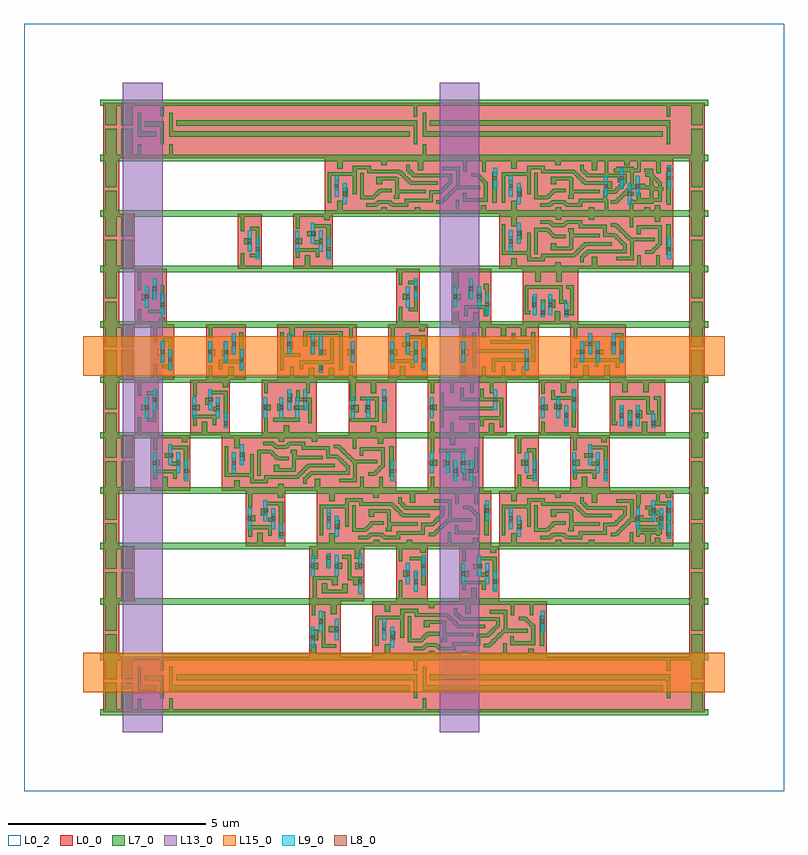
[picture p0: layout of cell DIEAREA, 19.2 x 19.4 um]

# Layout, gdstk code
import gdstk
lib = gdstk.Library(unit=1e-6, precision=1e-09)
def R(c, l, rs):  # rectangles x0, y0, x1, y1
    for r in rs: c.add(gdstk.rectangle(r[:2], r[2:], *l))
def A(c, l, x, y, w, h, nx, ny, dx, dy):  # array of equal rectangles
    R(c, l, [(x+i*dx, y+j*dy, x+i*dx+w, y+j*dy+h) for i in range(nx) for j in range(ny)])
L0_0 = (0, 0)
L0_2 = (0, 2)
L7_0 = (7, 0)
L8_0 = (8, 0)
L9_0 = (9, 0)
L13_0 = (13, 0)
L15_0 = (15, 0)

pins = lib.new_cell('PINS')

master_dffqx0p5h7r = lib.new_cell('Master_DFFQX0P5H7R')
R(master_dffqx0p5h7r, L0_0, [(0,0,4.4,1.4)])
R(master_dffqx0p5h7r, L7_0, [(0,-0.08,4.4,0.08), (0.31,-0.08,0.45,0.325), (1.43,-0.08,1.57,0.16), (2.27,-0.08,2.41,0.16), (3.305,-0.08,3.395,0.345), (3.935,-0.08,4.075,0.21), (1.04,0.17,1.31,0.26), (1.688,0.17,2.105,0.26), (2.015,0.17,2.105,0.371), (1.04,0.191,1.352,0.26), (1.646,0.191,1.688,0.319), (1.04,0.231,1.39,0.26), (1.608,0.231,2.105,0.26), (2.82,0.245,2.975,0.335), (1.272,0.25,1.726,0.279), (1.31,0.25,1.688,0.319), (1.352,0.25,1.646,0.34), (2.975,0.268,3.021,0.396), (0.07,0.275,0.16,1.045), (4.225,0.275,4.345,1.045), (2.015,0.281,2.725,0.371), (2.635,0.281,2.725,0.585), (3.485,0.3,3.575,0.525), (3.485,0.3,4.11,0.39), (4.02,0.3,4.11,0.806), (2.937,0.314,3.067,0.354), (3.021,0.314,3.067,0.442), (3.067,0.36,3.113,0.488), (0.89,0.365,0.98,1.03), (0.89,0.365,1.246,0.455), (1.745,0.37,1.885,0.46), (1.78,0.37,1.87,0.908), (1.78,0.37,1.885,0.605), (1.246,0.388,1.292,0.516), (3.113,0.406,3.159,0.534), (0.455,0.425,0.575,0.65), (1.208,0.434,1.338,0.474), (1.292,0.434,1.338,0.562), (3.159,0.452,3.205,0.58), (1.338,0.479,1.383,0.608), (0.71,0.485,0.8,1.21), (2.635,0.495,2.936,0.585), (3.205,0.498,3.251,0.626), (1.78,0.515,2.545,0.605), (2.936,0.518,2.982,0.646), (1.292,0.521,1.421,0.562), (1.383,0.54,1.69,0.63), (3.251,0.544,3.297,0.672), (2.898,0.564,3.028,0.604), (2.982,0.564,3.028,0.692), (3.297,0.576,3.315,0.704), (0.25,0.585,0.35,0.855), (3.205,0.6,3.345,0.626), (3.028,0.61,3.074,0.738), (3.315,0.615,3.405,1.185), (3.315,0.615,3.93,0.705), (3.074,0.656,3.12,0.784), (3.12,0.686,3.135,0.815), (3.074,0.717,3.181,0.784), (2.163,0.725,2.849,0.815), (2.141,0.736,2.163,0.864), (1.305,0.745,1.445,0.925), (4.012,0.75,4.02,0.878), (3.135,0.762,3.225,1.005), (2.095,0.77,2.201,0.834), (3.966,0.777,4.066,0.851), (2.049,0.816,2.163,0.864), (3.92,0.823,4.02,0.878), (1.305,0.835,1.835,0.925), (2.003,0.862,2.095,0.944), (2.003,0.862,2.141,0.898), (3.874,0.869,3.966,0.951), (3.874,0.869,4.012,0.905), (1.957,0.908,2.049,0.99), (3.836,0.911,3.966,0.951), (2.229,0.915,3.225,1.005), (3.7,0.93,3.874,1.02), (3.7,0.93,3.92,0.997), (2.19,0.934,2.229,1.063), (1.911,0.954,2.003,1.036), (0.07,0.955,0.8,1.045), (2.144,0.977,2.267,1.024), (1.873,0.996,2.003,1.036), (1.07,1.015,1.16,1.21), (1.07,1.015,1.911,1.105), (1.07,1.015,1.957,1.082), (2.1,1.022,2.19,1.105), (3.975,1.05,4.065,1.48), (3.495,1.055,3.585,1.48), (2.054,1.067,2.144,1.23), (2.345,1.095,2.485,1.48), (2.96,1.095,3.405,1.185), (0.71,1.12,1.16,1.21), (0.31,1.135,0.45,1.48), (1.42,1.225,1.56,1.48), (0,1.32,4.4,1.48)])
R(master_dffqx0p5h7r, L8_0, [(0.455,0.455,0.545,0.545), (0.255,0.655,0.345,0.745), (4.255,0.855,4.345,0.945)])
R(master_dffqx0p5h7r, L9_0, [(0.45,0.23,0.55,0.76), (0.25,0.425,0.35,0.96), (4.25,0.625,4.35,1.16)])

master_nor2x0p5h7l = lib.new_cell('Master_NOR2X0P5H7L')
R(master_nor2x0p5h7l, L0_0, [(0,0,0.8,1.4)])
R(master_nor2x0p5h7l, L7_0, [(0,-0.08,0.8,0.08), (0.07,-0.08,0.16,0.38), (0.615,-0.08,0.755,0.175), (0.345,0.275,0.745,0.365), (0.64,0.275,0.745,0.99), (0.18,0.61,0.345,0.775), (0.44,0.64,0.545,0.975), (0.07,0.865,0.16,1.48), (0,1.32,0.8,1.48)])
R(master_nor2x0p5h7l, L8_0, [(0.655,0.455,0.745,0.545), (0.255,0.655,0.345,0.745), (0.455,0.855,0.545,0.945)])
R(master_nor2x0p5h7l, L9_0, [(0.65,0.225,0.75,0.76), (0.25,0.425,0.35,0.96), (0.45,0.63,0.55,1.16)])

master_aoi21x0p5h7l = lib.new_cell('Master_AOI21X0P5H7L')
R(master_aoi21x0p5h7l, L0_0, [(0,0,1,1.4)])
R(master_aoi21x0p5h7l, L7_0, [(0,-0.08,1,0.08), (0.07,-0.08,0.16,0.385), (0.785,-0.08,0.925,0.175), (0.52,0.27,0.945,0.36), (0.84,0.27,0.945,1.115), (0.35,0.45,0.575,0.57), (0.65,0.62,0.75,0.775), (0.055,0.625,0.235,0.775), (0.535,0.675,0.75,0.775), (0.07,0.875,0.16,1.115), (0.07,0.875,0.66,0.965), (0.57,0.875,0.66,1.1), (0.295,1.055,0.435,1.48), (0,1.32,1,1.48)])
R(master_aoi21x0p5h7l, L8_0, [(0.455,0.455,0.545,0.545), (0.055,0.655,0.145,0.745), (0.655,0.655,0.745,0.745), (0.855,0.855,0.945,0.945)])
R(master_aoi21x0p5h7l, L9_0, [(0.45,0.23,0.55,0.76), (0.65,0.425,0.75,0.96), (0.05,0.43,0.15,0.96), (0.85,0.625,0.95,1.16)])

master_oai21x0p5h7l = lib.new_cell('Master_OAI21X0P5H7L')
R(master_oai21x0p5h7l, L0_0, [(0,0,1,1.4)])
R(master_oai21x0p5h7l, L7_0, [(0,-0.08,1,0.08), (0.295,-0.08,0.435,0.34), (0.84,0.225,0.945,1.125), (0.07,0.24,0.16,0.52), (0.57,0.255,0.66,0.52), (0.07,0.43,0.66,0.52), (0.575,0.61,0.75,0.715), (0.655,0.61,0.75,0.81), (0.055,0.625,0.245,0.775), (0.38,0.775,0.505,0.945), (0.38,0.855,0.575,0.945), (0.07,0.985,0.16,1.48), (0.53,1.035,0.945,1.125), (0.815,1.215,0.955,1.48), (0,1.32,1,1.48)])
R(master_oai21x0p5h7l, L8_0, [(0.855,0.255,0.945,0.345), (0.055,0.655,0.145,0.745), (0.655,0.655,0.745,0.745), (0.455,0.855,0.545,0.945)])
R(master_oai21x0p5h7l, L9_0, [(0.85,0.18,0.95,0.56), (0.65,0.425,0.75,0.96), (0.05,0.43,0.15,0.96), (0.45,0.63,0.55,1.16)])

master_nor3x0p5h7l = lib.new_cell('Master_NOR3X0P5H7L')
R(master_nor3x0p5h7l, L0_0, [(0,0,1,1.4)])
R(master_nor3x0p5h7l, L7_0, [(0,-0.08,1,0.08), (0.045,-0.08,0.185,0.32), (0.545,-0.08,0.685,0.305), (0.32,0.205,0.41,0.485), (0.82,0.205,0.915,0.485), (0.32,0.395,0.945,0.485), (0.85,0.395,0.945,1.03), (0.635,0.575,0.76,0.815), (0.055,0.625,0.235,0.775), (0.42,0.635,0.545,0.975), (0.82,0.885,0.945,1.03), (0.045,0.91,0.185,1.48), (0,1.32,1,1.48)])
R(master_nor3x0p5h7l, L8_0, [(0.855,0.455,0.945,0.545), (0.055,0.655,0.145,0.745), (0.655,0.655,0.745,0.745), (0.455,0.855,0.545,0.945)])
R(master_nor3x0p5h7l, L9_0, [(0.85,0.225,0.95,0.76), (0.65,0.425,0.75,0.96), (0.05,0.43,0.15,0.96), (0.45,0.63,0.55,1.16)])

master_and3x0p5h7l = lib.new_cell('Master_AND3X0P5H7L')
R(master_and3x0p5h7l, L0_0, [(0,0,1.4,1.4)])
R(master_and3x0p5h7l, L7_0, [(0,-0.08,1.4,0.08), (0.805,-0.08,0.945,0.335), (0.455,0.225,0.565,0.625), (1.055,0.225,1.29,0.375), (1.2,0.225,1.29,0.99), (0.045,0.255,0.135,0.99), (0.045,0.255,0.185,0.345), (0.245,0.425,0.345,0.695), (0.655,0.425,0.82,0.625), (0.92,0.525,1.01,0.99), (0.92,0.525,1.11,0.615), (0.045,0.9,1.01,0.99), (1.105,0.9,1.29,0.99), (0.31,1.08,0.45,1.48), (0.84,1.08,0.98,1.48), (0,1.32,1.4,1.48)])
R(master_and3x0p5h7l, L8_0, [(0.455,0.255,0.545,0.345), (1.055,0.255,1.145,0.345), (0.255,0.455,0.345,0.545), (0.655,0.455,0.745,0.545)])
R(master_and3x0p5h7l, L9_0, [(0.45,0.18,0.55,0.56), (1.05,0.18,1.15,0.56), (0.25,0.225,0.35,0.76), (0.65,0.225,0.75,0.76)])

master_nand4x0p5h7l = lib.new_cell('Master_NAND4X0P5H7L')
R(master_nand4x0p5h7l, L0_0, [(0,0,1.4,1.4)])
R(master_nand4x0p5h7l, L7_0, [(0,-0.08,1.4,0.08), (0.085,-0.08,0.175,0.345), (1.12,0.23,1.345,0.32), (1.255,0.23,1.345,0.94), (0.385,0.425,0.61,0.545), (1.025,0.425,1.145,0.65), (0.15,0.635,0.375,0.755), (0.625,0.635,0.85,0.755), (0.085,0.85,1.345,0.94), (0.085,0.85,0.175,1.09), (0.615,0.85,0.705,1.075), (1.145,0.85,1.235,1.09), (0.325,1.03,0.465,1.48), (0.855,1.03,0.995,1.48), (0,1.32,1.4,1.48)])
R(master_nand4x0p5h7l, L8_0, [(0.455,0.455,0.545,0.545), (1.055,0.455,1.145,0.545), (0.255,0.655,0.345,0.745), (0.655,0.655,0.745,0.745), (1.255,0.655,1.345,0.745)])
R(master_nand4x0p5h7l, L9_0, [(1.05,0.225,1.15,0.76), (0.45,0.23,0.55,0.76), (0.25,0.425,0.35,0.96), (0.65,0.425,0.75,0.96), (1.25,0.43,1.35,0.96)])

master_ao31x0p5h7l = lib.new_cell('Master_AO31X0P5H7L')
R(master_ao31x0p5h7l, L0_0, [(0,0,1.8,1.4)])
R(master_ao31x0p5h7l, L7_0, [(0,-0.08,1.8,0.08), (0.07,-0.08,0.16,0.365), (1.075,-0.08,1.215,0.16), (1.64,0.225,1.745,1.175), (0.795,0.25,1.3,0.34), (1.21,0.25,1.3,1.13), (0.54,0.455,0.81,0.555), (1.21,0.58,1.55,0.67), (0.055,0.625,0.26,0.775), (0.825,0.655,1.095,0.755), (0.405,0.785,0.575,0.945), (0.07,1.015,0.16,1.48), (1.39,1.015,1.48,1.48), (1.075,1.04,1.3,1.13), (0.295,1.045,0.965,1.135), (0.56,1.225,0.7,1.48), (0,1.32,1.8,1.48)])
R(master_ao31x0p5h7l, L8_0, [(0.655,0.455,0.745,0.545), (0.055,0.655,0.145,0.745), (0.855,0.655,0.945,0.745), (0.455,0.855,0.545,0.945), (1.655,1.055,1.745,1.145)])
R(master_ao31x0p5h7l, L9_0, [(0.65,0.225,0.75,0.76), (0.85,0.425,0.95,0.96), (0.05,0.43,0.15,0.96), (0.45,0.63,0.55,1.16), (1.65,0.84,1.75,1.22)])

master_invx0p5h7l = lib.new_cell('Master_INVX0P5H7L')
R(master_invx0p5h7l, L0_0, [(0,0,0.6,1.4)])
R(master_invx0p5h7l, L7_0, [(0,-0.08,0.6,0.08), (0.07,-0.08,0.16,0.45), (0.315,0.335,0.545,0.425), (0.455,0.335,0.545,1.105), (0.165,0.625,0.345,0.775), (0.07,1,0.16,1.48), (0.305,1.015,0.545,1.105), (0,1.32,0.6,1.48)])
R(master_invx0p5h7l, L8_0, [(0.255,0.655,0.345,0.745), (0.455,0.855,0.545,0.945)])
R(master_invx0p5h7l, L9_0, [(0.25,0.425,0.35,0.96), (0.45,0.63,0.55,1.16)])

master_nand2x0p5h7l = lib.new_cell('Master_NAND2X0P5H7L')
R(master_nand2x0p5h7l, L0_0, [(0,0,0.8,1.4)])
R(master_nand2x0p5h7l, L7_0, [(0,-0.08,0.8,0.08), (0.045,-0.08,0.185,0.32), (0.32,0.23,0.685,0.32), (0.32,0.23,0.41,1.14), (0.055,0.425,0.23,0.685), (0.505,0.625,0.745,0.775), (0.255,0.825,0.41,0.975), (0.07,1.05,0.16,1.48), (0.555,1.075,0.695,1.48), (0,1.32,0.8,1.48)])
R(master_nand2x0p5h7l, L8_0, [(0.055,0.455,0.145,0.545), (0.655,0.655,0.745,0.745), (0.255,0.855,0.345,0.945)])
R(master_nand2x0p5h7l, L9_0, [(0.05,0.23,0.15,0.76), (0.65,0.425,0.75,0.96), (0.25,0.625,0.35,1.16)])

master_aoi31x0p5h7l = lib.new_cell('Master_AOI31X0P5H7L')
R(master_aoi31x0p5h7l, L0_0, [(0,0,1.4,1.4)])
R(master_aoi31x0p5h7l, L7_0, [(0,-0.08,1.4,0.08), (0.075,-0.08,0.215,0.325), (1.155,-0.08,1.295,0.325), (0.43,0.225,0.545,0.56), (0.845,0.225,1.065,0.315), (0.975,0.225,1.065,0.86), (0.055,0.425,0.235,0.58), (0.655,0.425,0.835,0.575), (1.165,0.425,1.345,0.58), (0.1,0.76,0.725,0.85), (0.1,0.76,0.19,1.48), (0.58,0.76,0.725,0.985), (0.975,0.77,1.345,0.86), (1.12,0.77,1.345,0.985), (0.325,0.94,0.465,1.195), (0.835,0.95,0.975,1.195), (0.325,1.105,0.975,1.195), (0,1.32,1.4,1.48)])
A(master_aoi31x0p5h7l, L8_0, 0.055, 0.455, 0.09, 0.09, 3, 1, 0.6, 0)
R(master_aoi31x0p5h7l, L8_0, [(0.455,0.255,0.545,0.345), (1.255,0.855,1.345,0.945)])
R(master_aoi31x0p5h7l, L9_0, [(0.45,0.18,0.55,0.56), (1.25,0.18,1.35,0.585), (0.65,0.225,0.75,0.76), (0.05,0.23,0.15,0.76), (1.25,0.815,1.35,1.22)])

master_nand3x0p5h7l = lib.new_cell('Master_NAND3X0P5H7L')
R(master_nand3x0p5h7l, L0_0, [(0,0,1,1.4)])
R(master_nand3x0p5h7l, L7_0, [(0,-0.08,1,0.08), (0.07,-0.08,0.16,0.345), (0.84,0.205,0.945,1.15), (0.645,0.305,0.745,0.575), (0.055,0.625,0.235,0.775), (0.39,0.655,0.59,0.79), (0.32,0.895,0.945,0.985), (0.32,0.895,0.41,1.135), (0.07,1.05,0.16,1.48), (0.56,1.075,0.7,1.48), (0,1.32,1,1.48)])
R(master_nand3x0p5h7l, L8_0, [(0.655,0.455,0.745,0.545), (0.055,0.655,0.145,0.745), (0.455,0.655,0.545,0.745), (0.855,0.855,0.945,0.945)])
R(master_nand3x0p5h7l, L9_0, [(0.65,0.225,0.75,0.76), (0.05,0.43,0.15,0.96), (0.45,0.43,0.55,0.96), (0.85,0.625,0.95,1.16)])

master_and2x0p5h7l = lib.new_cell('Master_AND2X0P5H7L')
R(master_and2x0p5h7l, L0_0, [(0,0,1.2,1.4)])
R(master_and2x0p5h7l, L7_0, [(0,-0.08,1.2,0.08), (0.56,-0.08,0.7,0.245), (0.85,0.31,0.96,0.98), (0.045,0.335,0.76,0.425), (0.67,0.335,0.76,0.97), (0.42,0.565,0.55,0.775), (0.055,0.585,0.26,0.775), (0.045,0.865,0.185,1.48), (0.295,0.88,0.76,0.97), (0.56,1.06,0.7,1.48), (0,1.32,1.2,1.48)])
R(master_and2x0p5h7l, L8_0, [(0.055,0.655,0.145,0.745), (0.455,0.655,0.545,0.745), (0.855,0.855,0.945,0.945)])
R(master_and2x0p5h7l, L9_0, [(0.05,0.43,0.15,0.96), (0.45,0.43,0.55,0.96), (0.85,0.625,0.95,1.16)])

master_oai31x0p5h7l = lib.new_cell('Master_OAI31X0P5H7L')
R(master_oai31x0p5h7l, L0_0, [(0,0,1.4,1.4)])
R(master_oai31x0p5h7l, L7_0, [(0,-0.08,1.4,0.08), (0.07,-0.08,0.16,0.445), (0.56,-0.08,0.7,0.255), (1.18,0.305,1.27,0.945), (0.295,0.345,0.965,0.435), (0.395,0.615,0.545,0.795), (0.055,0.625,0.235,0.775), (0.82,0.645,1.09,0.745), (0.655,0.825,0.775,1.05), (0.88,0.855,1.27,0.945), (0.88,0.855,0.97,1.14), (0.07,1.055,0.16,1.48), (1.13,1.055,1.22,1.48), (0,1.32,1.4,1.48)])
A(master_oai31x0p5h7l, L8_0, 0.055, 0.655, 0.09, 0.09, 3, 1, 0.4, 0)
R(master_oai31x0p5h7l, L8_0, [(0.655,0.855,0.745,0.945), (1.055,0.855,1.145,0.945)])
R(master_oai31x0p5h7l, L9_0, [(0.85,0.425,0.95,0.96), (0.05,0.43,0.15,0.96), (0.45,0.43,0.55,0.96), (0.65,0.625,0.75,1.16), (1.05,0.625,1.15,1.16)])

master_nand4bbx0p5h7l = lib.new_cell('Master_NAND4BBX0P5H7L')
R(master_nand4bbx0p5h7l, L0_0, [(0,0,2,1.4)])
R(master_nand4bbx0p5h7l, L7_0, [(0,-0.08,2,0.08), (0.295,-0.08,0.435,0.305), (1.82,-0.08,1.91,0.345), (0.66,0.17,0.75,0.555), (0.66,0.17,1.655,0.26), (1.565,0.17,1.655,1.155), (0.07,0.205,0.16,1.16), (1.335,0.35,1.425,1), (0.845,0.395,0.99,0.555), (0.845,0.395,0.945,0.595), (0.25,0.425,0.385,0.625), (1.055,0.625,1.24,0.775), (1.765,0.625,1.945,0.775), (0.07,0.73,0.585,0.82), (0.57,0.91,1.425,1), (0.57,0.91,0.66,1.14), (1.055,0.91,1.16,1.175), (1.815,1.055,1.905,1.48), (0.32,1.07,0.41,1.48), (0.795,1.095,0.935,1.48), (1.295,1.095,1.435,1.48), (0,1.32,2,1.48)])
R(master_nand4bbx0p5h7l, L8_0, [(0.255,0.455,0.345,0.545), (0.855,0.455,0.945,0.545), (1.055,0.655,1.145,0.745), (1.855,0.655,1.945,0.745), (1.055,1.055,1.145,1.145)])
R(master_nand4bbx0p5h7l, L9_0, [(0.25,0.225,0.35,0.76), (0.85,0.225,0.95,0.76), (1.05,0.25,1.15,0.785), (1.85,0.425,1.95,0.96), (1.05,1.015,1.15,1.22)])

master_filltaph7r = lib.new_cell('Master_FILLTAPH7R')
R(master_filltaph7r, L0_0, [(0,0,0.4,1.4)])
R(master_filltaph7r, L7_0, [(0,-0.08,0.4,0.08), (0.055,-0.08,0.345,0.57), (0.055,0.66,0.345,1.48), (0,1.32,0.4,1.48)])

master_fillcap4h7r = lib.new_cell('Master_FILLCAP4H7R')
R(master_fillcap4h7r, L0_0, [(0,0,0.8,1.4)])
R(master_fillcap4h7r, L7_0, [(0,-0.08,0.8,0.08), (0.64,-0.08,0.73,0.345), (0.07,0.255,0.16,0.86), (0.25,0.465,0.73,0.605), (0.64,0.465,0.73,1.045), (0.07,0.72,0.54,0.86), (0.07,1.055,0.16,1.48), (0,1.32,0.8,1.48)])

master_fillcap32h7r = lib.new_cell('Master_FILLCAP32H7R')
R(master_fillcap32h7r, L0_0, [(0,0,6.4,1.4)])
R(master_fillcap32h7r, L7_0, [(0,-0.08,6.4,0.08), (6.24,-0.08,6.33,0.355), (0.07,0.255,0.16,0.86), (0.25,0.445,6.33,0.585), (6.24,0.445,6.33,1.045), (0.07,0.72,6.14,0.86), (0.07,1.045,0.16,1.48), (0,1.32,6.4,1.48)])

master_filler2h7r = lib.new_cell('Master_FILLER2H7R')
R(master_filler2h7r, L0_0, [(0,0,0.4,1.4)])
R(master_filler2h7r, L7_0, [(0,-0.08,0.4,0.08), (0,1.32,0.4,1.48)])

master_bufx8h7l = lib.new_cell('Master_BUFX8H7L')
R(master_bufx8h7l, L0_0, [(0,0,2,1.4)])
R(master_bufx8h7l, L7_0, [(0,-0.08,2,0.08), (0.07,-0.08,0.16,0.345), (0.57,-0.08,0.66,0.33), (1.045,-0.08,1.185,0.305), (1.545,-0.08,1.685,0.305), (0.32,0.205,0.41,1.09), (1.82,0.205,1.91,0.945), (1.32,0.22,1.41,0.485), (0.795,0.395,1.91,0.485), (0.05,0.625,0.23,0.775), (0.32,0.625,1.665,0.715), (0.82,0.855,1.91,0.945), (0.82,0.855,0.91,1.195), (1.32,0.855,1.41,1.17), (0.07,1.055,0.16,1.48), (1.57,1.055,1.66,1.48), (0.57,1.07,0.66,1.48), (1.07,1.07,1.16,1.48), (0,1.32,2,1.48)])
R(master_bufx8h7l, L8_0, [(0.055,0.655,0.145,0.745), (1.655,0.855,1.745,0.945)])
R(master_bufx8h7l, L9_0, [(0.05,0.43,0.15,0.96), (1.65,0.63,1.75,1.16)])

vdd = lib.new_cell('VDD')
A(vdd, L7_0, 1.92, 1.92, 15.36, 0.16, 1, 6, 0, 2.8)
R(vdd, L13_0, [(2.5,1.5,3.5,17.9)])
R(vdd, L15_0, [(1.5,2.5,17.7,3.5)])

vss = lib.new_cell('VSS')
A(vss, L7_0, 1.92, 3.32, 15.36, 0.16, 1, 6, 0, 2.8)
R(vss, L13_0, [(10.5,1.5,11.5,17.9)])
R(vss, L15_0, [(1.5,10.5,17.7,11.5)])

diearea = lib.new_cell('DIEAREA')
R(diearea, L0_2, [(0,0,19.2,19.4)])
diearea.add(gdstk.Reference(pins, (0,0)))
diearea.add(gdstk.Reference(master_dffqx0p5h7r, (5,9), x_reflection=True))
diearea.add(gdstk.Reference(master_nor2x0p5h7l, (2.8,11.8)))
diearea.add(gdstk.Reference(master_dffqx0p5h7r, (12,6.2)))
diearea.add(gdstk.Reference(master_aoi21x0p5h7l, (13.8,9), x_reflection=True))
diearea.add(gdstk.Reference(master_oai21x0p5h7l, (15.4,6.2)))
diearea.add(gdstk.Reference(master_dffqx0p5h7r, (12,14.6), x_reflection=True))
diearea.add(gdstk.Reference(master_nor3x0p5h7l, (10.8,11.8)))
diearea.add(gdstk.Reference(master_and3x0p5h7l, (14.8,9)))
diearea.add(gdstk.Reference(master_aoi21x0p5h7l, (9.2,11.8), x_reflection=True))
diearea.add(gdstk.Reference(master_dffqx0p5h7r, (12,14.6)))
diearea.add(gdstk.Reference(master_and3x0p5h7l, (12.6,11.8)))
diearea.add(gdstk.Reference(master_nand4x0p5h7l, (13.8,11.8), x_reflection=True))
diearea.add(gdstk.Reference(master_ao31x0p5h7l, (14.6,14.6)))
diearea.add(gdstk.Reference(master_dffqx0p5h7r, (7.4,6.2)))
diearea.add(gdstk.Reference(master_aoi21x0p5h7l, (3.2,9), x_reflection=True))
diearea.add(gdstk.Reference(master_invx0p5h7l, (2.8,9)))
diearea.add(gdstk.Reference(master_oai21x0p5h7l, (4.2,9)))
diearea.add(gdstk.Reference(master_dffqx0p5h7r, (8.8,3.4)))
diearea.add(gdstk.Reference(master_nor2x0p5h7l, (9.4,6.2), x_reflection=True))
diearea.add(gdstk.Reference(master_oai21x0p5h7l, (5.6,6.2)))
diearea.add(gdstk.Reference(master_nand2x0p5h7l, (7.2,3.4)))
diearea.add(gdstk.Reference(master_aoi31x0p5h7l, (7.2,6.2), x_reflection=True))
diearea.add(gdstk.Reference(master_dffqx0p5h7r, (12,14.6), x_reflection=True))
diearea.add(gdstk.Reference(master_aoi21x0p5h7l, (11,6.2), x_reflection=True))
diearea.add(gdstk.Reference(master_invx0p5h7l, (12.4,9), x_reflection=True))
diearea.add(gdstk.Reference(master_nand3x0p5h7l, (13,9)))
diearea.add(gdstk.Reference(master_and2x0p5h7l, (8.2,9)))
diearea.add(gdstk.Reference(master_oai31x0p5h7l, (10.2,9), x_reflection=True))
diearea.add(gdstk.Reference(master_dffqx0p5h7r, (7.6,14.6)))
diearea.add(gdstk.Reference(master_aoi21x0p5h7l, (6.8,14.6), x_reflection=True))
diearea.add(gdstk.Reference(master_invx0p5h7l, (5.4,14.6), x_reflection=True))
diearea.add(gdstk.Reference(master_nand4bbx0p5h7l, (6.4,11.8), x_reflection=True))
diearea.add(gdstk.Reference(master_invx0p5h7l, (9.4,11.8)))
diearea.add(gdstk.Reference(master_oai31x0p5h7l, (6,9)))
diearea.add(gdstk.Reference(master_nand3x0p5h7l, (4.6,11.8), x_reflection=True))
diearea.add(gdstk.Reference(master_invx0p5h7l, (3.2,11.8), x_reflection=True))
diearea.add(gdstk.Reference(master_filltaph7r, (2,3.4), x_reflection=True))
diearea.add(gdstk.Reference(master_filltaph7r, (16.8,3.4), x_reflection=True))
diearea.add(gdstk.Reference(master_filltaph7r, (2,3.4)))
diearea.add(gdstk.Reference(master_filltaph7r, (16.8,3.4)))
diearea.add(gdstk.Reference(master_filltaph7r, (2,6.2), x_reflection=True))
diearea.add(gdstk.Reference(master_filltaph7r, (16.8,6.2), x_reflection=True))
diearea.add(gdstk.Reference(master_filltaph7r, (2,6.2)))
diearea.add(gdstk.Reference(master_filltaph7r, (16.8,6.2)))
diearea.add(gdstk.Reference(master_filltaph7r, (2,9), x_reflection=True))
diearea.add(gdstk.Reference(master_filltaph7r, (16.8,9), x_reflection=True))
diearea.add(gdstk.Reference(master_filltaph7r, (2,9)))
diearea.add(gdstk.Reference(master_filltaph7r, (16.8,9)))
diearea.add(gdstk.Reference(master_filltaph7r, (2,11.8), x_reflection=True))
diearea.add(gdstk.Reference(master_filltaph7r, (16.8,11.8), x_reflection=True))
diearea.add(gdstk.Reference(master_filltaph7r, (2,11.8)))
diearea.add(gdstk.Reference(master_filltaph7r, (16.8,11.8)))
diearea.add(gdstk.Reference(master_filltaph7r, (2,14.6), x_reflection=True))
diearea.add(gdstk.Reference(master_filltaph7r, (16.8,14.6), x_reflection=True))
diearea.add(gdstk.Reference(master_filltaph7r, (2,14.6)))
diearea.add(gdstk.Reference(master_filltaph7r, (16.8,14.6)))
diearea.add(gdstk.Reference(master_filltaph7r, (2,17.4), x_reflection=True))
diearea.add(gdstk.Reference(master_filltaph7r, (16.8,17.4), x_reflection=True))
diearea.add(gdstk.Reference(master_filltaph7r, (2.4,3.4), x_reflection=True))
diearea.add(gdstk.Reference(master_filltaph7r, (2.4,6.2), x_reflection=True))
diearea.add(gdstk.Reference(master_filltaph7r, (2.4,9), x_reflection=True))
diearea.add(gdstk.Reference(master_filltaph7r, (2.4,11.8), x_reflection=True))
diearea.add(gdstk.Reference(master_filltaph7r, (2.4,14.6), x_reflection=True))
diearea.add(gdstk.Reference(master_filltaph7r, (2.4,17.4), x_reflection=True))
diearea.add(gdstk.Reference(master_fillcap4h7r, (2.8,3.4), x_reflection=True))
diearea.add(gdstk.Reference(master_fillcap4h7r, (2.8,17.4), x_reflection=True))
diearea.add(gdstk.Reference(master_fillcap32h7r, (3.6,3.4), x_reflection=True))
diearea.add(gdstk.Reference(master_fillcap32h7r, (10,3.4), x_reflection=True))
diearea.add(gdstk.Reference(master_filler2h7r, (16.4,3.4), x_reflection=True))
diearea.add(gdstk.Reference(master_fillcap32h7r, (3.6,17.4), x_reflection=True))
diearea.add(gdstk.Reference(master_fillcap32h7r, (10,17.4), x_reflection=True))
diearea.add(gdstk.Reference(master_filler2h7r, (16.4,17.4), x_reflection=True))
diearea.add(gdstk.Reference(master_bufx8h7l, (10.2,9)))
diearea.add(gdstk.Reference(master_bufx8h7l, (11,11.8), x_reflection=True))
diearea.add(gdstk.Reference(vdd, (0,0)))
diearea.add(gdstk.Reference(vss, (0,0)))

lib.write_gds('DIEAREA.gds')
